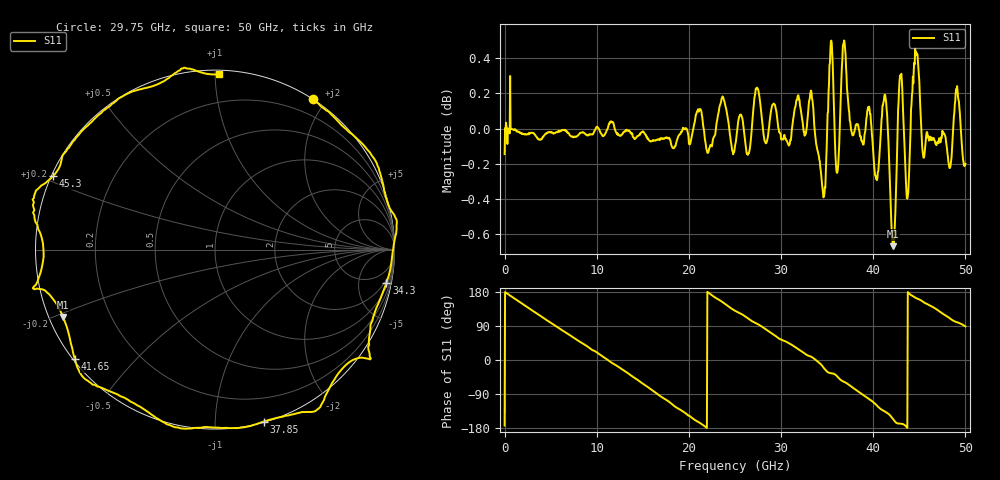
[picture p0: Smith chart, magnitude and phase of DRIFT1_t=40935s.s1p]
!Created with skrf (http://scikit-rf.org).
# Hz S RI R 50.0
!freq ReS11 ImS11
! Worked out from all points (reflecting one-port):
!   1001 points, 300 kHz to 50 GHz, reference 50 ohm
!   lowest |S11| = -0.7 dB at 42.15 GHz (marker M1), VSWR 25.95, Z = 2.01 - j10.6 ohm
!   phase of S11 starts at -173 deg and turns -818 deg over the sweep
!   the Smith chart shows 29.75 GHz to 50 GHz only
!   S11 on the Smith chart (normalised r, x): 29.75 GHz: 0.00, +1.85; 34.3 GHz: 1, -10; 37.85 GHz: 0.01, -1.32; 41.65 GHz: 0.00, -0.34; 45.3 GHz: 0.01, +0.22; 50 GHz: 0.02, +1.02
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300000  -0.9761 -0.1195
1.450291e9  -0.9123 0.4044
3.25028e9  -0.5922 0.801
6.250262e9  0.2009 0.9785
9.500243e9  0.8918 0.4439
1.250022e10  0.9322 -0.349
1.580021e10  0.2399 -0.9623
1.74002e10  -0.2214 -0.9687
1.875019e10  -0.5973 -0.7936
2.150017e10  -0.9923 -0.1561
2.345016e10  -0.9289 0.4135
2.500015e10  -0.6349 0.7579
2.740014e10  -0.0977 1.023
2.975012e10  0.5464 0.8368
3.125011e10  0.7858 0.6233
3.31501e10  1.007 0.1748
3.430009e10  0.9555 -0.1836
3.520009e10  0.8587 -0.5678
3.750008e10  0.3755 -0.9316
3.785007e10  0.2719 -0.9579
3.960006e10  -0.2368 -0.9846
4.165005e10  -0.7817 -0.6095
4.215005e10  -0.8461 -0.3758
4.290004e10  -1.011 -0.2182
4.375004e10  -0.9566 0.0115
4.530003e10  -0.9005 0.4095
4.770001e10  -0.494 0.8657
5e10  0.0213 0.9769
